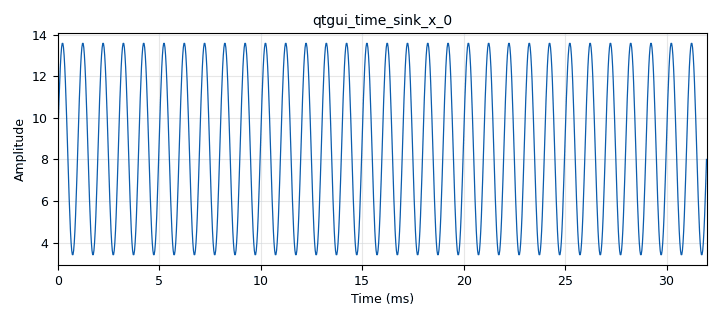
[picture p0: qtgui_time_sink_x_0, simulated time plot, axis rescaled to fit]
options:
  parameters:
    generate_options: qt_gui
    id: untitled
    output_language: python
    title: Not titled yet
  states: {}

blocks:
- name: samp_rate
  id: variable
  parameters:
    value: '32000'
  states: {}
- name: analog_sig_source_x_0
  id: analog_sig_source_x
  parameters:
    amp: '1'
    freq: '1000'
    offset: '0'
    phase: '0'
    samp_rate: samp_rate
    type: float
    waveform: analog.GR_COS_WAVE
  states: {}
- name: epy_block_0
  id: epy_block
  parameters:
    _source_code: "import numpy as np\nfrom gnuradio import gr\n\nclass blk(gr.sync_block):\n    def __init__(self): # only default arguments here\n        gr.sync_block.__init__(\n            self,\n            name='e_Diff', # will show up in GRC\n            in_sig=[np.float32],\n            out_sig=[np.float32]\n        )\n        self.acum_anterior = 0\n\n    def work(self, input_items, output_items):\n        x = input_items[0] # Senial de entrada.\n        y0 = output_items[0] # Senial acumulada diferencial\n        N = len(x)\n        diff = np.cumsum(x) - self.acum_anterior\n        self.acum_anterior = diff[N - 1]\n        y0[:] = diff\n        return len(y0)\n\n"
  states: {}
- name: qtgui_time_sink_x_0
  id: qtgui_time_sink_x
  parameters:
    size: '1024'
    srate: samp_rate
    type: float
  states: {}

connections:
- [analog_sig_source_x_0, '0', epy_block_0, '0']
- [epy_block_0, '0', qtgui_time_sink_x_0, '0']

metadata:
  file_format: 1
  grc_version: 3.9.8.0
